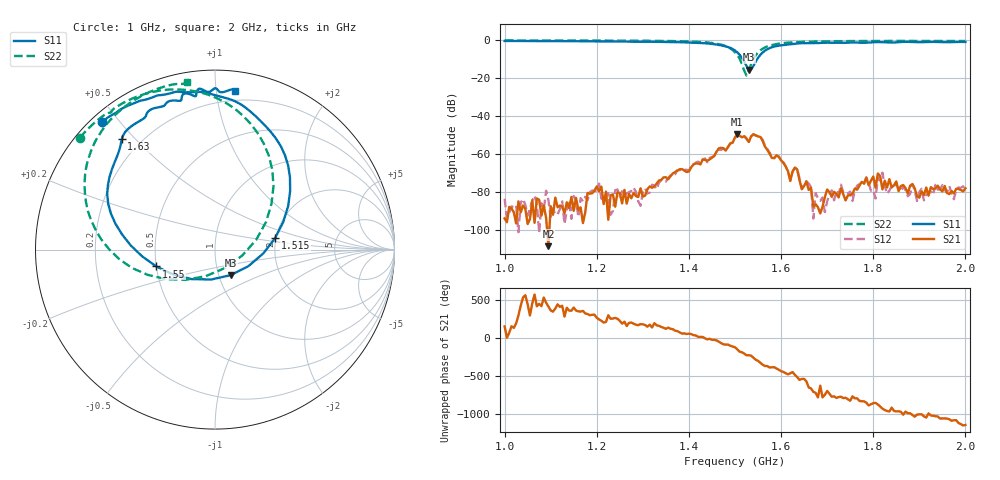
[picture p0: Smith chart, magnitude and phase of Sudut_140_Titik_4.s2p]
# Hz S RI R 50
! CMT, C1220, 16058040, 17.2.0/1
! Date: 14/08/2018 12:30:40
! Data: Format (Calibration Info)
! Freq  S11: Re/Im (F2)  S21: Re/Im (F2)  S12: Re/Im (F2)  S22: Re/Im (F2)
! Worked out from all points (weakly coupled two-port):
!   201 points, 1 GHz to 2 GHz, reference 50 ohm
!   highest |S21| = -49.48 dB at 1.505 GHz (marker M1); lowest = -108.6 dB at 1.095 GHz (marker M2)
!   lowest |S11| = -15.6 dB at 1.53 GHz (marker M3), VSWR 1.40, Z = 56.9 - j16.7 ohm
!   |S11| at or under -10 dB: 1.517 GHz to 1.548 GHz (31.75 MHz wide, 2.07 % of centre)
!   |S22| runs from -18.7 to -0.2 dB; largest |S21 - S12| = 0.00029
!   S11 on the Smith chart (normalised r, x): 1 GHz: 0.03, +0.45; 1.515 GHz: 1.98, +0.28; 1.55 GHz: 0.50, -0.11; 1.63 GHz: 0.13, +0.46; 2 GHz: 0.13, +1.13
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1e9  -0.628 0.7094  -1.74e-05 9.72e-06  5.34e-05 3.93e-05  -0.7531 0.6239
1.095e9  -0.5347 0.7758  2.2e-06 2.97e-06  5.75e-05 2.09e-05  -0.6849 0.6945
1.17e9  -0.4517 0.8152  1.5e-05 -1.12e-06  4.71e-05 -3.07e-05  -0.6171 0.7493
1.335e9  -0.1871 0.8775  -0.000187 7e-05  -0.000145 9.77e-05  -0.4016 0.8636
1.45e9  0.197 0.7693  0.000719 -0.000334  0.000724 -0.000388  0.0201 0.8388
1.5e9  0.4187 0.327  -0.00146 -0.0023  -0.00138 -0.00215  0.3258 0.353
1.505e9  0.4078 0.2433  -0.0029 -0.00168  -0.00275 -0.00172  0.315 0.2562
1.515e9  0.3346 0.0635  -0.00272 0.000398  -0.00276 0.000353  0.2296 0.0547
1.53e9  0.0868 -0.1425  -0.00141 0.0015  -0.0014 0.00154  -0.0525 -0.1483
1.55e9  -0.3272 -0.0939  0.00149 0.00249  0.00147 0.00253  -0.4632 -0.102
1.62e9  -0.5284 0.5716  -4.91e-05 -0.000187  -4.46e-05 -0.000203  -0.7077 0.4988
1.63e9  -0.5197 0.6143  -0.000248 -0.000359  -0.000206 -0.000367  -0.6927 0.5438
1.645e9  -0.4872 0.6697  -0.000117 -3.31e-06  -0.000112 -4.53e-05  -0.6683 0.6005
1.67e9  -0.4004 0.7282  3.98e-05 8.33e-06  1.69e-05 1e-05  -0.6247 0.6713
1.755e9  -0.2497 0.8288  5.93e-05 -6.59e-05  5.42e-05 -1.83e-05  -0.4901 0.8053
1.785e9  -0.1876 0.8332  -0.000154 -0.000181  -0.000166 -0.000173  -0.4469 0.834
1.805e9  -0.1774 0.8656  -8.83e-05 -9.26e-05  -6.66e-05 -2.98e-06  -0.4191 0.8509
1.81e9  -0.1697 0.8697  -0.000274 -0.000133  8.69e-07 -0.000236  -0.4123 0.8552
1.82e9  -0.1476 0.8679  -0.000101 5.76e-05  -0.000318 5.13e-05  -0.3986 0.8616
1.835e9  -0.114 0.8549  -8.65e-05 0.000199  -5.54e-05 9.06e-05  -0.3785 0.8717
1.855e9  -0.102 0.8763  -4.67e-05 9.35e-05  -2.11e-05 0.000119  -0.3513 0.8835
2e9  0.1122 0.8852  5.43e-05 -0.000111  2.3e-05 -0.000115  -0.155 0.9316
